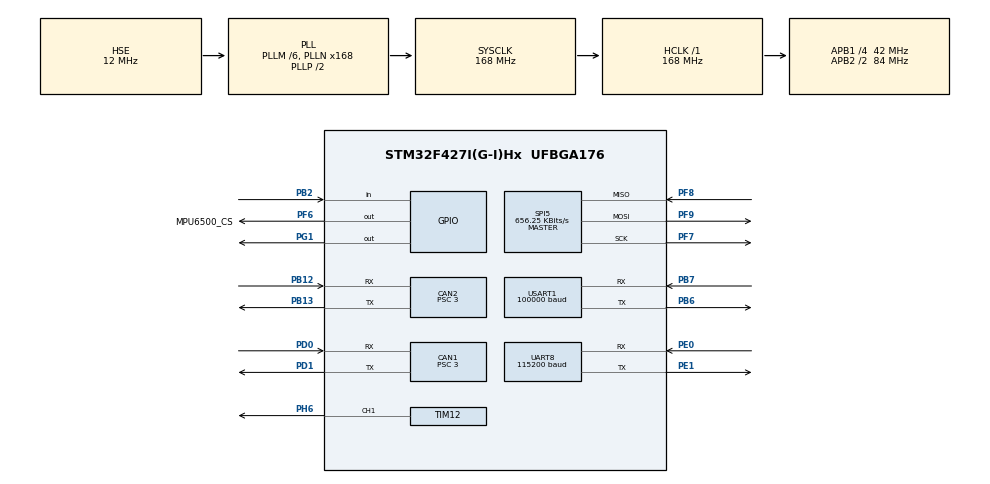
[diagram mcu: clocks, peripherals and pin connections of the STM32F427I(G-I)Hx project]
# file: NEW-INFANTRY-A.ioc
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CAN1.ABOM=ENABLE
CAN1.BS1=CAN_BS1_10TQ
CAN1.BS2=CAN_BS2_3TQ
CAN1.CalculateBaudRate=1000000
CAN1.CalculateTimeBit=1000
CAN1.CalculateTimeQuantum=71.42857142857143
CAN1.Prescaler=3
CAN2.ABOM=ENABLE
CAN2.BS1=CAN_BS1_10TQ
CAN2.BS2=CAN_BS2_3TQ
CAN2.CalculateBaudRate=1000000
CAN2.CalculateTimeBit=1000
CAN2.CalculateTimeQuantum=71.42857142857143
CAN2.Prescaler=3
Mcu.Family=STM32F4
Mcu.Name=STM32F427I(G-I)Hx
Mcu.Package=UFBGA176
NVIC.CAN1_RX0_IRQn=true\:6\:0\:true\:false\:true\:true\:true\:true
NVIC.CAN1_TX_IRQn=true\:6\:0\:true\:false\:true\:true\:true\:true
NVIC.CAN2_RX0_IRQn=true\:6\:0\:true\:false\:true\:true\:true\:true
NVIC.CAN2_TX_IRQn=true\:6\:0\:true\:false\:true\:true\:true\:true
NVIC.PriorityGroup=NVIC_PRIORITYGROUP_4
NVIC.TIM6_DAC_IRQn=true\:4\:0\:true\:false\:true\:true\:true\:true
NVIC.UART8_IRQn=true\:5\:0\:true\:false\:true\:true\:true\:true
NVIC.USART1_IRQn=true\:5\:0\:true\:false\:true\:true\:true\:true
PA13.Mode=Serial_Wire
PA13.Signal=SYS_JTMS-SWDIO
PA14.Mode=Serial_Wire
PA14.Signal=SYS_JTCK-SWCLK
PB12.Mode=CAN_Activate
PB12.Signal=CAN2_RX
PB13.Mode=CAN_Activate
PB13.Signal=CAN2_TX
PB2/BOOT1.GPIO_PuPd=GPIO_PULLDOWN
PB2/BOOT1.Signal=GPIO_Input
PB6.Mode=Asynchronous
PB6.Signal=USART1_TX
PB7.Mode=Asynchronous
PB7.Signal=USART1_RX
PD0.Mode=CAN_Activate
PD0.Signal=CAN1_RX
PD1.Mode=CAN_Activate
PD1.Signal=CAN1_TX
PE0.Mode=Asynchronous
PE0.Signal=UART8_RX
PE1.Mode=Asynchronous
PE1.Signal=UART8_TX
PF6.GPIO_Label=MPU6500_CS
PF6.GPIO_Speed=GPIO_SPEED_FREQ_VERY_HIGH
PF6.PinState=GPIO_PIN_SET
PF6.Signal=GPIO_Output
PF7.Mode=Full_Duplex_Master
PF7.Signal=SPI5_SCK
PF8.GPIO_PuPd=GPIO_PULLUP
PF8.Mode=Full_Duplex_Master
PF8.Signal=SPI5_MISO
PF9.Mode=Full_Duplex_Master
PF9.Signal=SPI5_MOSI
PG1.PinState=GPIO_PIN_SET
PG1.Signal=GPIO_Output
PH0/OSC_IN.Mode=HSE-External-Oscillator
PH0/OSC_IN.Signal=RCC_OSC_IN
PH1/OSC_OUT.Mode=HSE-External-Oscillator
PH1/OSC_OUT.Signal=RCC_OSC_OUT
PH6.Signal=S_TIM12_CH1
ProjectManager.HeapSize=0x200
ProjectManager.StackSize=0x400
ProjectManager.TargetToolchain=CMake
RCC.48MHZClocksFreq_Value=84000000
RCC.AHBFreq_Value=168000000
RCC.APB1CLKDivider=RCC_HCLK_DIV4
RCC.APB1Freq_Value=42000000
RCC.APB1TimFreq_Value=84000000
RCC.APB2CLKDivider=RCC_HCLK_DIV2
RCC.APB2Freq_Value=84000000
RCC.APB2TimFreq_Value=168000000
RCC.CortexFreq_Value=168000000
RCC.HCLKFreq_Value=168000000
RCC.HSE_VALUE=12000000
RCC.HSI_VALUE=16000000
RCC.LSE_VALUE=32768
RCC.PLLM=6
RCC.PLLN=168
RCC.PLLSourceVirtual=RCC_PLLSOURCE_HSE
RCC.SYSCLKFreq_VALUE=168000000
RCC.SYSCLKSource=RCC_SYSCLKSOURCE_PLLCLK
RCC.VCOOutputFreq_Value=336000000
SH.S_TIM12_CH1.0=TIM12_CH1,PWM Generation1 CH1
SPI5.BaudRatePrescaler=SPI_BAUDRATEPRESCALER_128
SPI5.CalculateBaudRate=656.25 KBits/s
SPI5.Direction=SPI_DIRECTION_2LINES
SPI5.Mode=SPI_MODE_MASTER
SPI5.VirtualType=VM_MASTER
TIM12.Channel-PWM\ Generation1\ CH1=TIM_CHANNEL_1
TIM12.Period=369
TIM12.Prescaler=83
TIM6.Period=999
TIM6.Prescaler=83
UART8.BaudRate=115200
UART8.VirtualMode=Asynchronous
USART1.BaudRate=100000
USART1.Parity=PARITY_EVEN
USART1.VirtualMode=VM_ASYNC
USART1.WordLength=WORDLENGTH_9B
VP_TIM6_VS_ClockSourceINT.Mode=Enable_Timer
board=custom

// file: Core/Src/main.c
/* USER CODE BEGIN Header */
/**
  ******************************************************************************
  * @file           : main.c
  * @brief          : Main program body
  ******************************************************************************
  * @attention
  *
  * Copyright (c) 2026 STMicroelectronics.
  * All rights reserved.
  *
  * This software is licensed under terms that can be found in the LICENSE file
  * in the root directory of this software component.
  * If no LICENSE file comes with this software, it is provided AS-IS.
  *
  ******************************************************************************
  */
/* USER CODE END Header */
#include "main.h"
#include "can.h"
#include "spi.h"
#include "tim.h"
#include "usart.h"
#include "gpio.h"

/* USER CODE BEGIN Includes */
#include "bsp_can.h"
#include "bsp_uart.h"
#include "bsp_buzzer.h"
#include "motor.h"
#include "remote.h"
#include "chassis.h"
#include "gimbal.h"
#include "bsp_imu.h"
/* USER CODE END Includes */

void SystemClock_Config(void);

int main(void)
{

  /* MCU Configuration--------------------------------------------------------*/

  /* Reset of all peripherals, Initializes the Flash interface and the Systick. */
  HAL_Init();

  /* Configure the system clock */
  SystemClock_Config();

  /* Initialize all configured peripherals */
  MX_GPIO_Init();
  MX_CAN1_Init();
  MX_CAN2_Init();
  MX_TIM6_Init();
  MX_UART8_Init();
  MX_USART1_UART_Init();
  MX_TIM12_Init();
  MX_SPI5_Init();
  /* USER CODE BEGIN 2 */
  bsp_buzzer_init();
  bsp_buzzer_beep(200);            /* 上电"滴"一声 = 烧录成功 */
  bsp_imu_init();                  /* ← 新增：MPU6500 自检 + 配置 */
  motor_chassis_init();
  motor_gimbal_init();
  bsp_can_init();                  //先注册，后Start
  remote_init();
  HAL_TIM_Base_Start_IT(&htim6);   /* ← 新增：启动 1kHz 控制节拍 */
  BspPrintf("CAN1 init\r\n");
  /* USER CODE END 2 */

  /* Infinite loop */
  while (1)
  {

    /* USER CODE BEGIN 3 */
    bsp_imu_update();  //读IMU
 }
  /* USER CODE END 3 */
}

void SystemClock_Config(void)
{
  RCC_OscInitTypeDef RCC_OscInitStruct = {0};
  RCC_ClkInitTypeDef RCC_ClkInitStruct = {0};

  /** Configure the main internal regulator output voltage
  */
  __HAL_RCC_PWR_CLK_ENABLE();
  __HAL_PWR_VOLTAGESCALING_CONFIG(PWR_REGULATOR_VOLTAGE_SCALE1);

  /** Initializes the RCC Oscillators according to the specified parameters
  * in the RCC_OscInitTypeDef structure.
  */
  RCC_OscInitStruct.OscillatorType = RCC_OSCILLATORTYPE_HSE;
  RCC_OscInitStruct.HSEState = RCC_HSE_ON;
  RCC_OscInitStruct.PLL.PLLState = RCC_PLL_ON;
  RCC_OscInitStruct.PLL.PLLSource = RCC_PLLSOURCE_HSE;
  RCC_OscInitStruct.PLL.PLLM = 6;
  RCC_OscInitStruct.PLL.PLLN = 168;
  RCC_OscInitStruct.PLL.PLLP = RCC_PLLP_DIV2;
  RCC_OscInitStruct.PLL.PLLQ = 4;
  if (HAL_RCC_OscConfig(&RCC_OscInitStruct) != HAL_OK)
  {
    Error_Handler();
  }

  /** Initializes the CPU, AHB and APB buses clocks
  */
  RCC_ClkInitStruct.ClockType = RCC_CLOCKTYPE_HCLK|RCC_CLOCKTYPE_SYSCLK
                              |RCC_CLOCKTYPE_PCLK1|RCC_CLOCKTYPE_PCLK2;
  RCC_ClkInitStruct.SYSCLKSource = RCC_SYSCLKSOURCE_PLLCLK;
  RCC_ClkInitStruct.AHBCLKDivider = RCC_SYSCLK_DIV1;
  RCC_ClkInitStruct.APB1CLKDivider = RCC_HCLK_DIV4;
  RCC_ClkInitStruct.APB2CLKDivider = RCC_HCLK_DIV2;

  if (HAL_RCC_ClockConfig(&RCC_ClkInitStruct, FLASH_LATENCY_5) != HAL_OK)
  {
    Error_Handler();
  }
}

/* USER CODE BEGIN 4 */
void HAL_TIM_PeriodElapsedCallback(TIM_HandleTypeDef *htim)
{
    if (htim->Instance != TIM6) { return; }
    remote_update();//判断遥控器是否在线
    chassis_run();
    gimbal_run();
}
/* USER CODE END 4 */

void Error_Handler(void)
{
  __disable_irq();
  while (1)
  {
  }
}
